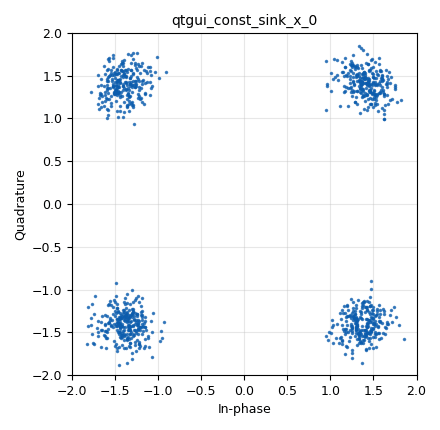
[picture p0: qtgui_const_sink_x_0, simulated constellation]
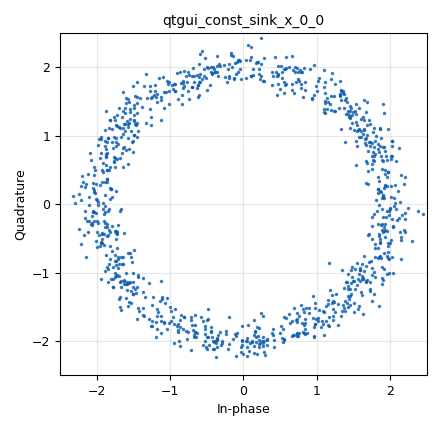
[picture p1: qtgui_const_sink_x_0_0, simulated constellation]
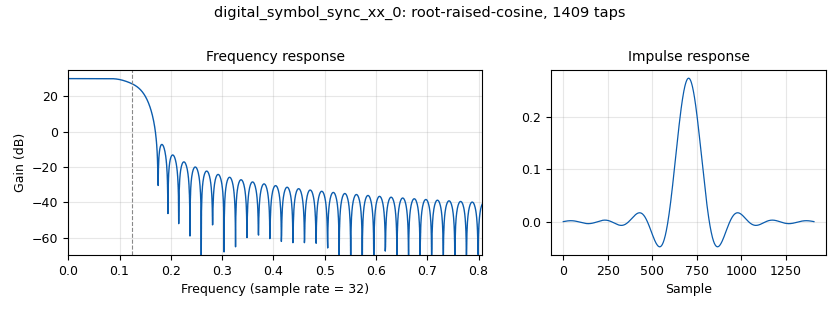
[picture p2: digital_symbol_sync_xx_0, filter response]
options:
  parameters:
    author: Barry Duggan
    category: Custom
    generate_options: qt_gui
    id: qpsk_stage5
    output_language: python
    title: qpsk_stage5
  states: {}

blocks:
- name: excess_bw
  id: variable
  parameters:
    value: '0.35'
  states: {}
- name: freq_offset
  id: variable_qtgui_range
  parameters:
    gui_hint: 0,2,1,1
    label: 'Channel: Frequency Offset'
    start: '-0.1'
    step: '0.001'
    stop: '0.1'
    value: '0.025'
  states: {}
- name: nfilts
  id: variable
  parameters:
    value: '32'
  states: {}
- name: noise_volt
  id: variable_qtgui_range
  parameters:
    gui_hint: 0,0,1,1
    label: 'Channel: Noise Voltage'
    start: '0'
    step: '0.01'
    stop: '1'
    value: '0.2'
  states: {}
- name: phase_bw
  id: variable
  parameters:
    value: '0.0628'
  states: {}
- name: qpsk
  id: variable_constellation_rect
  parameters:
    const_points: '[0.707+0.707j, -0.707+0.707j, -0.707-0.707j, 0.707-0.707j]'
    imag_sect: '2'
    real_sect: '2'
    rot_sym: '4'
    sym_map: '[0, 1, 2, 3]'
    w_imag_sect: '1'
    w_real_sect: '1'
  states: {}
- name: rrc_taps
  id: variable
  parameters:
    value: firdes.root_raised_cosine(nfilts, nfilts, 1.0/float(sps), 0.35, 11*sps*nfilts)
  states: {}
- name: samp_rate
  id: variable
  parameters:
    value: '32000'
  states: {}
- name: sps
  id: variable
  parameters:
    value: '4'
  states: {}
- name: time_offset
  id: variable_qtgui_range
  parameters:
    gui_hint: 0,1,1,1
    label: 'Channel: Timing Offset'
    start: '0.999'
    step: '0.0001'
    stop: '1.001'
    value: '1.0005'
  states: {}
- name: variable_adaptive_algorithm_0
  id: variable_adaptive_algorithm
  parameters:
    cons: qpsk
    modulus: '4'
    step_size: '.0001'
    type: cma
  states: {}
- name: analog_random_source_x_0
  id: analog_random_source_x
  parameters:
    max: '256'
    min: '0'
    num_samps: '10000'
    repeat: 'True'
    type: byte
  states: {}
- name: blocks_throttle2_0
  id: blocks_throttle2
  parameters:
    samples_per_second: samp_rate
    type: complex
  states: {}
- name: channels_channel_model_0
  id: channels_channel_model
  parameters:
    comment: Epsilon is the time offset
    epsilon: time_offset
    freq_offset: freq_offset
    noise_voltage: noise_volt
    seed: '0'
    taps: '1'
  states: {}
- name: digital_constellation_modulator_0
  id: digital_constellation_modulator
  parameters:
    constellation: qpsk
    differential: 'True'
    excess_bw: excess_bw
    samples_per_symbol: sps
  states: {}
- name: digital_costas_loop_cc_0
  id: digital_costas_loop_cc
  parameters:
    order: '4'
    w: phase_bw
  states: {}
- name: digital_linear_equalizer_0
  id: digital_linear_equalizer
  parameters:
    alg: variable_adaptive_algorithm_0
    num_taps: '15'
    sps: '2'
  states: {}
- name: digital_symbol_sync_xx_0
  id: digital_symbol_sync_xx
  parameters:
    damping: '1.0'
    loop_bw: phase_bw
    max_dev: '1.5'
    nfilters: '32'
    osps: '2'
    pfb_mf_taps: rrc_taps
    resamp_type: digital.IR_PFB_MF
    sps: sps
    ted_gain: '1.0'
    ted_type: digital.TED_SIGNAL_TIMES_SLOPE_ML
    type: cc
  states: {}
- name: qtgui_const_sink_x_0
  id: qtgui_const_sink_x
  parameters:
    comment: 1,2,1,2
    gui_hint: 1,2,1,2
    name: ''
    size: '1024'
    type: complex
  states: {}
- name: qtgui_const_sink_x_0_0
  id: qtgui_const_sink_x
  parameters:
    comment: 1,0,1,2
    gui_hint: 1,0,1,2
    name: ''
    size: '1024'
    type: complex
    xmax: '2.5'
    xmin: '-2.5'
    ymax: '2.5'
    ymin: '-2.5'
  states: {}
- name: virtual_sink_0
  id: virtual_sink
  parameters:
    stream_id: r1
  states: {}
- name: virtual_source_0
  id: virtual_source
  parameters:
    stream_id: r1
  states: {}

connections:
- [analog_random_source_x_0, '0', digital_constellation_modulator_0, '0']
- [blocks_throttle2_0, '0', channels_channel_model_0, '0']
- [channels_channel_model_0, '0', digital_symbol_sync_xx_0, '0']
- [digital_constellation_modulator_0, '0', blocks_throttle2_0, '0']
- [digital_costas_loop_cc_0, '0', qtgui_const_sink_x_0, '0']
- [digital_linear_equalizer_0, '0', qtgui_const_sink_x_0_0, '0']
- [digital_linear_equalizer_0, '0', virtual_sink_0, '0']
- [digital_symbol_sync_xx_0, '0', digital_linear_equalizer_0, '0']
- [virtual_source_0, '0', digital_costas_loop_cc_0, '0']

metadata:
  file_format: 1
  grc_version: 3.10.12.0
